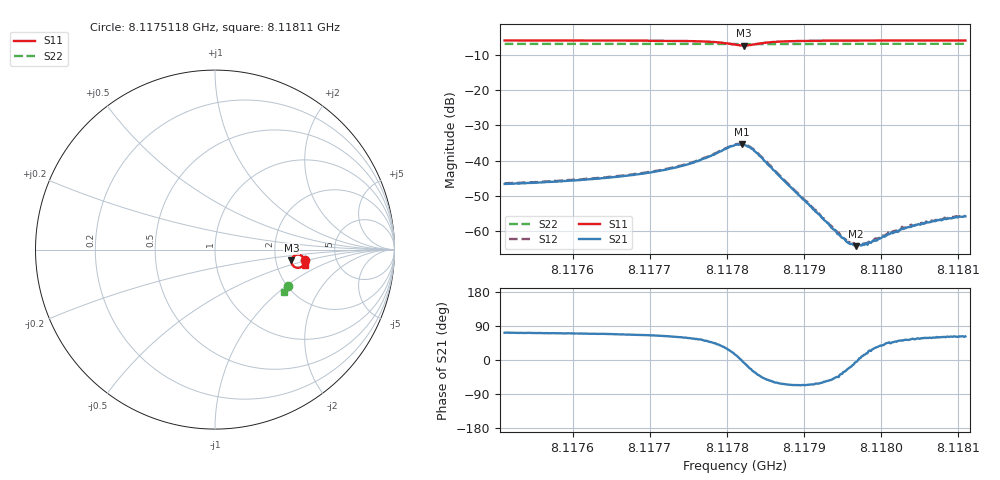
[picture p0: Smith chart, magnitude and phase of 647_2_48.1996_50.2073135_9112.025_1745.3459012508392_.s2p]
#  HZ  S  RI  R  50.00
! Rohde & Schwarz Vector Network Analyzer
! Rohde-Schwarz,ZNB20-2Port,1311601062101988,3.16
! Created: UTC 3/20/2024, 12:05:04 PM
! freq[Hz]  re:S11  im:S11  re:S21  im:S21  re:S12  im:S12  re:S22  im:S22
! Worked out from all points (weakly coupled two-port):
!   401 points, 8.1175118 GHz to 8.11811 GHz, reference 50 ohm
!   highest |S21| = -35.40 dB at 8.1178198 GHz (marker M1); lowest = -64.3 dB at 8.1179679 GHz (marker M2)
!   lowest |S11| = -7.3 dB at 8.1178228 GHz (marker M3), VSWR 2.51, Z = 122 - j17.7 ohm
!   |S11| at or under -10 dB: nowhere
!   |S22| runs from -6.9 to -6.9 dB; largest |S21 - S12| = 0.00055
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8.11751176e9  0.5039 -0.0556  0.00144 0.00441  0.00149 0.0045  0.4051 -0.2022
8.11761196e9  0.5016 -0.0662  0.00183 0.00498  0.00189 0.00507  0.4021 -0.2085
8.11767029e9  0.4991 -0.0738  0.00236 0.00559  0.00242 0.00571  0.4002 -0.2124
8.11771216e9  0.496 -0.0813  0.0031 0.00637  0.00316 0.00652  0.3987 -0.2152
8.11774506e9  0.4905 -0.0892  0.00442 0.00735  0.00453 0.0075  0.3975 -0.2174
8.11776301e9  0.4845 -0.0945  0.00571 0.00799  0.00589 0.00815  0.3966 -0.2186
8.11781087e9  0.4331 -0.0879  0.0161 0.00412  0.0163 0.00431  0.3932 -0.2206
8.11781984e9  0.4253 -0.0671  0.017 -0.000523  0.0173 -0.000517  0.3926 -0.22
8.11782283e9  0.4258 -0.059  0.0165 -0.00222  0.0169 -0.00217  0.3926 -0.22
8.11783031e9  0.4341 -0.0412  0.0142 -0.00588  0.0145 -0.00594  0.393 -0.2196
8.11783779e9  0.4482 -0.0308  0.0108 -0.0075  0.0112 -0.00768  0.3937 -0.2198
8.1178662e9  0.4855 -0.0363  0.00314 -0.00555  0.00321 -0.00574  0.3942 -0.2221
8.11791107e9  0.4983 -0.0552  0.000924 -0.0019  0.000947 -0.00197  0.393 -0.2258
8.11794098e9  0.5 -0.0627  0.00071 -0.00075  0.000691 -0.000714  0.3921 -0.228
8.11795743e9  0.5004 -0.066  0.000627 -0.000272  0.000671 -0.000307  0.3915 -0.2291
8.1179679e9  0.5004 -0.0679  0.000605 -5.53e-05  0.000629 -7.78e-05  0.3911 -0.2297
8.11797388e9  0.5004 -0.0689  0.000618 5.7e-05  0.000635 5.59e-05  0.3912 -0.2301
8.11798585e9  0.5004 -0.0707  0.000619 0.000288  0.000648 0.000229  0.3908 -0.2309
8.11801127e9  0.5003 -0.0744  0.000618 0.000652  0.000669 0.00061  0.39 -0.2327
8.11803819e9  0.5001 -0.0777  0.000668 0.000923  0.000717 0.000969  0.389 -0.2342
8.11808455e9  0.4997 -0.0827  0.000734 0.00128  0.000732 0.00134  0.3873 -0.2372
8.11810998e9  0.4994 -0.0854  0.00075 0.00142  0.000715 0.00145  0.3865 -0.2387
